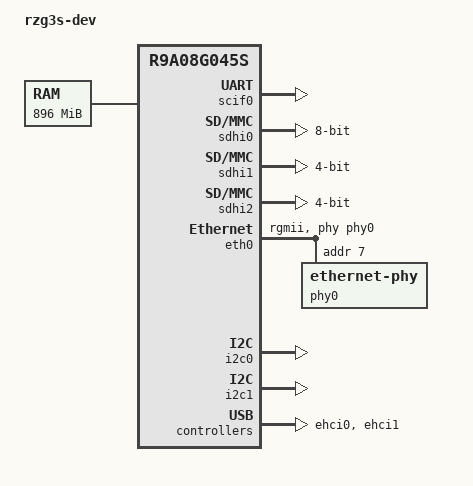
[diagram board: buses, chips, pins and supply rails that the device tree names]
// SPDX-License-Identifier: GPL-2.0
/*
 * Device Tree Source for the RZ/G3S Dev board
 *
 * Copyright (C) 2022 Renesas Electronics
 */

/dts-v1/;
#include <dt-bindings/gpio/gpio.h>
#include "r9a08g045s.dtsi"
#include "r9a08g045s-u-boot.dtsi"
#include <dt-bindings/pinctrl/rzg2l-pinctrl.h>

/*
 * select between USB phy0 and MTU3 pins which are multiplexed
 * MTU3 pins are NOT required by clocksoure function
 */
#define MTU3_PINS_SEL			0

/ {
	model = "rzg3s-dev";
	compatible = "renesas,r9a08g045s", "renesas,rzg3s";

	aliases {
		serial0 = &scif0;
	};

	chosen {
		stdout-path = "serial0:115200n8";
	};

	memory@48000000 {
		device_type = "memory";
		/* first 128MB is reserved for secure area. */
		reg = <0 0x48000000 0 0x38000000>;
	};
};

&pinctrl {
	eth0_pins: eth0 {
		pinmux = <RZG2L_PINMUX(1, 0, 1)>,
				<RZG2L_PINMUX(1, 1, 1)>,
				<RZG2L_PINMUX(1, 2, 1)>,
				<RZG2L_PINMUX(1, 3, 1)>,
				<RZG2L_PINMUX(1, 4, 1)>,
				<RZG2L_PINMUX(2, 0, 1)>,
				<RZG2L_PINMUX(3, 0, 1)>,
				<RZG2L_PINMUX(3, 1, 1)>,
				<RZG2L_PINMUX(3, 2, 1)>,
				<RZG2L_PINMUX(3, 3, 1)>,
				<RZG2L_PINMUX(4, 0, 1)>,
				<RZG2L_PINMUX(4, 1, 1)>,
				<RZG2L_PINMUX(4, 3, 1)>,
				<RZG2L_PINMUX(4, 4, 1)>,
				<RZG2L_PINMUX(4, 5, 1)>;
	};

#if !MTU3_PINS_SEL
	usb0_pins: usb0 {
		pinmux = <RZG2L_PINMUX(5, 0, 1)>,	/* VBUS	*/
			 <RZG2L_PINMUX(5, 2, 1)>;	/* OVC	*/
	};
#endif
	usb1_pins: usb1 {
		pinmux = <RZG2L_PINMUX(6, 0, 1)>,	/* VBUS	*/
			 <RZG2L_PINMUX(6, 1, 1)>;	/* OVC */
	};

	sdhi2_pins: sd2 {
		pinmux = <RZG2L_PINMUX(11, 0, 8)>,	/* SD2_CLK	*/
			 <RZG2L_PINMUX(11, 1, 8)>,	/* SD2_CMD	*/
			 <RZG2L_PINMUX(11, 2, 8)>,	/* SD2_DATA0	*/
			 <RZG2L_PINMUX(11, 3, 8)>,	/* SD2_DATA1	*/
			 <RZG2L_PINMUX(12, 0, 8)>,	/* SD2_DATA2	*/
			 <RZG2L_PINMUX(12, 1, 8)>,	/* SD2_DATA3	*/
			 <RZG2L_PINMUX(14, 1, 7)>,	/* SD2_CD	*/
			 <RZG2L_PINMUX(14, 2, 7)>;	/* SD2_WP	*/
	};
};

&xinclk {
	clock-frequency = <24000000>;
};

&scif0 {
	status = "okay";
	clock = <100000000>;
};

&sdhi0 {
	bus-width = <8>;
	status = "okay";
};

&sdhi1 {
	bus-width = <4>;
	status = "okay";
};

&sdhi2 {
	pinctrl-names = "default";
	pinctrl-0 = <&sdhi2_pins>;

	bus-width = <4>;
	status = "okay";
};

&eth0 {
	pinctrl-names = "default";
	pinctrl-0 = <&eth0_pins>;
	phy-handle = <&phy0>;
	phy-mode = "rgmii";
	status = "okay";

	phy0: ethernet-phy@7 {
		reg = <7>;
	};
};

&i2c0 {
	status = "okay";
};

&i2c1 {
	status = "okay";
};

#if !MTU3_PINS_SEL
&ehci0 {
	pinctrl-names = "default";
	pinctrl-0 = <&usb0_pins>;
	status = "okay";
};
#endif

&ehci1 {
	pinctrl-names = "default";
	pinctrl-0 = <&usb1_pins>;
	status = "okay";
};
